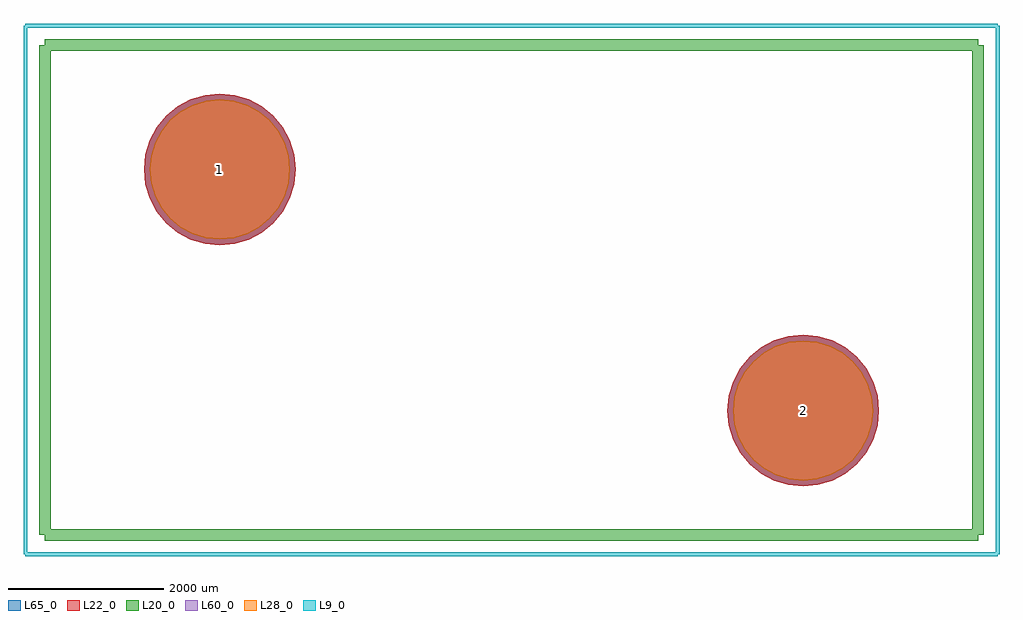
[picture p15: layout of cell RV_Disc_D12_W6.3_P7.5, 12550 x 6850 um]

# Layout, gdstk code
import gdstk
lib = gdstk.Library(unit=1e-6, precision=1e-09)
def P(c, l, *ps):  # polygons
    for p in ps: c.add(gdstk.Polygon(p, *l))
L9_0 = (9, 0)
L20_0 = (20, 0)
L22_0 = (22, 0)
L28_0 = (28, 0)
L60_0 = (60, 0)
L65_0 = (65, 0)

rv_disc_d12_w6_3_p7_5 = lib.new_cell('RV_Disc_D12_W6.3_P7.5')
P(rv_disc_d12_w6_3_p7_5, L22_0, [(8475,-3100),(8456.266,-2909.787),(8400.783,-2726.884),(8310.683,-2558.319),(8189.429,-2410.571),(8041.681,-2289.317),(7873.116,-2199.217),(7690.213,-2143.734),(7500,-2125),(7309.787,-2143.734),(7126.884,-2199.217),(6958.319,-2289.317),(6810.571,-2410.571),(6689.317,-2558.319),(6599.217,-2726.884),(6543.734,-2909.787),(6525,-3100),(6543.734,-3290.213),(6599.217,-3473.116),(6689.317,-3641.681),(6810.571,-3789.429),(6958.319,-3910.683),(7126.884,-4000.783),(7309.787,-4056.266),(7500,-4075),(7690.213,-4056.266),(7873.116,-4000.783),(8041.681,-3910.683),(8189.429,-3789.429),(8310.683,-3641.681),(8400.783,-3473.116),(8456.266,-3290.213)],
  [(975,0),(956.266,190.213),(900.783,373.116),(810.683,541.681),(689.429,689.429),(541.681,810.683),(373.116,900.783),(190.213,956.266),(0,975),(-190.213,956.266),(-373.116,900.783),(-541.681,810.683),(-689.429,689.429),(-810.683,541.681),(-900.783,373.116),(-956.266,190.213),(-975,0),(-956.266,-190.213),(-900.783,-373.116),(-810.683,-541.681),(-689.429,-689.429),(-541.681,-810.683),(-373.116,-900.783),(-190.213,-956.266),(0,-975),(190.213,-956.266),(373.116,-900.783),(541.681,-810.683),(689.429,-689.429),(810.683,-541.681),(900.783,-373.116),(956.266,-190.213)])
P(rv_disc_d12_w6_3_p7_5, L28_0, [(8400,-3100),(8382.707,-2924.419),(8331.492,-2755.585),(8248.323,-2599.987),(8136.396,-2463.604),(8000.013,-2351.677),(7844.415,-2268.508),(7675.581,-2217.293),(7500,-2200),(7324.419,-2217.293),(7155.585,-2268.508),(6999.987,-2351.677),(6863.604,-2463.604),(6751.677,-2599.987),(6668.508,-2755.585),(6617.293,-2924.419),(6600,-3100),(6617.293,-3275.581),(6668.508,-3444.415),(6751.677,-3600.013),(6863.604,-3736.396),(6999.987,-3848.323),(7155.585,-3931.492),(7324.419,-3982.707),(7500,-4000),(7675.581,-3982.707),(7844.415,-3931.492),(8000.013,-3848.323),(8136.396,-3736.396),(8248.323,-3600.013),(8331.492,-3444.415),(8382.707,-3275.581)],
  [(900,0),(882.707,175.581),(831.492,344.415),(748.323,500.013),(636.396,636.396),(500.013,748.323),(344.415,831.492),(175.581,882.707),(0,900),(-175.581,882.707),(-344.415,831.492),(-500.013,748.323),(-636.396,636.396),(-748.323,500.013),(-831.492,344.415),(-882.707,175.581),(-900,0),(-882.707,-175.581),(-831.492,-344.415),(-748.323,-500.013),(-636.396,-636.396),(-500.013,-748.323),(-344.415,-831.492),(-175.581,-882.707),(0,-900),(175.581,-882.707),(344.415,-831.492),(500.013,-748.323),(636.396,-636.396),(748.323,-500.013),(831.492,-344.415),(882.707,-175.581)])
P(rv_disc_d12_w6_3_p7_5, L60_0, [(8400,-3100),(8382.707,-2924.419),(8331.492,-2755.585),(8248.323,-2599.987),(8136.396,-2463.604),(8000.013,-2351.677),(7844.415,-2268.508),(7675.581,-2217.293),(7500,-2200),(7324.419,-2217.293),(7155.585,-2268.508),(6999.987,-2351.677),(6863.604,-2463.604),(6751.677,-2599.987),(6668.508,-2755.585),(6617.293,-2924.419),(6600,-3100),(6617.293,-3275.581),(6668.508,-3444.415),(6751.677,-3600.013),(6863.604,-3736.396),(6999.987,-3848.323),(7155.585,-3931.492),(7324.419,-3982.707),(7500,-4000),(7675.581,-3982.707),(7844.415,-3931.492),(8000.013,-3848.323),(8136.396,-3736.396),(8248.323,-3600.013),(8331.492,-3444.415),(8382.707,-3275.581)],
  [(900,0),(882.707,175.581),(831.492,344.415),(748.323,500.013),(636.396,636.396),(500.013,748.323),(344.415,831.492),(175.581,882.707),(0,900),(-175.581,882.707),(-344.415,831.492),(-500.013,748.323),(-636.396,636.396),(-748.323,500.013),(-831.492,344.415),(-882.707,175.581),(-900,0),(-882.707,-175.581),(-831.492,-344.415),(-748.323,-500.013),(-636.396,-636.396),(-500.013,-748.323),(-344.415,-831.492),(-175.581,-882.707),(0,-900),(175.581,-882.707),(344.415,-831.492),(500.013,-748.323),(636.396,-636.396),(748.323,-500.013),(831.492,-344.415),(882.707,-175.581)])
P(rv_disc_d12_w6_3_p7_5, L65_0, [(8475,-3100),(8456.266,-2909.787),(8400.783,-2726.884),(8310.683,-2558.319),(8189.429,-2410.571),(8041.681,-2289.317),(7873.116,-2199.217),(7690.213,-2143.734),(7500,-2125),(7309.787,-2143.734),(7126.884,-2199.217),(6958.319,-2289.317),(6810.571,-2410.571),(6689.317,-2558.319),(6599.217,-2726.884),(6543.734,-2909.787),(6525,-3100),(6543.734,-3290.213),(6599.217,-3473.116),(6689.317,-3641.681),(6810.571,-3789.429),(6958.319,-3910.683),(7126.884,-4000.783),(7309.787,-4056.266),(7500,-4075),(7690.213,-4056.266),(7873.116,-4000.783),(8041.681,-3910.683),(8189.429,-3789.429),(8310.683,-3641.681),(8400.783,-3473.116),(8456.266,-3290.213)],
  [(975,0),(956.266,190.213),(900.783,373.116),(810.683,541.681),(689.429,689.429),(541.681,810.683),(373.116,900.783),(190.213,956.266),(0,975),(-190.213,956.266),(-373.116,900.783),(-541.681,810.683),(-689.429,689.429),(-810.683,541.681),(-900.783,373.116),(-956.266,190.213),(-975,0),(-956.266,-190.213),(-900.783,-373.116),(-810.683,-541.681),(-689.429,-689.429),(-541.681,-810.683),(-373.116,-900.783),(-190.213,-956.266),(0,-975),(190.213,-956.266),(373.116,-900.783),(541.681,-810.683),(689.429,-689.429),(810.683,-541.681),(900.783,-373.116),(956.266,-190.213)])
rv_disc_d12_w6_3_p7_5.add(gdstk.FlexPath([(-2250,1600),(-2250,-4700)], 149.998, ends="flush", simple_path=True, layer=20, datatype=0))  # L20_0
rv_disc_d12_w6_3_p7_5.add(gdstk.FlexPath([(9750,1600),(9750,-4700)], 149.998, ends="flush", simple_path=True, layer=20, datatype=0))  # L20_0
rv_disc_d12_w6_3_p7_5.add(gdstk.FlexPath([(-2250,1600),(9750,1600)], 149.998, ends="flush", simple_path=True, layer=20, datatype=0))  # L20_0
rv_disc_d12_w6_3_p7_5.add(gdstk.FlexPath([(-2250,-4700),(9750,-4700)], 149.998, ends="flush", simple_path=True, layer=20, datatype=0))  # L20_0
rv_disc_d12_w6_3_p7_5.add(gdstk.FlexPath([(-2500,1850),(-2500,-4950)], 50, ends="flush", simple_path=True, layer=9, datatype=0))  # L9_0
rv_disc_d12_w6_3_p7_5.add(gdstk.FlexPath([(10000,1850),(10000,-4950)], 50, ends="flush", simple_path=True, layer=9, datatype=0))  # L9_0
rv_disc_d12_w6_3_p7_5.add(gdstk.FlexPath([(-2500,1850),(10000,1850)], 50, ends="flush", simple_path=True, layer=9, datatype=0))  # L9_0
rv_disc_d12_w6_3_p7_5.add(gdstk.FlexPath([(-2500,-4950),(10000,-4950)], 50, ends="flush", simple_path=True, layer=9, datatype=0))  # L9_0
rv_disc_d12_w6_3_p7_5.add(gdstk.Label('2', (7500,-3100), layer=28, texttype=0))
rv_disc_d12_w6_3_p7_5.add(gdstk.Label('1', (0,0), layer=28, texttype=0))
rv_disc_d12_w6_3_p7_5.add(gdstk.Label('type', (3750,2600), layer=9, texttype=0))
rv_disc_d12_w6_3_p7_5.add(gdstk.Label('devicename', (3750,-5700), layer=9, texttype=0))

lib.write_gds('RV_Disc_D12_W6.3_P7.5.gds')
